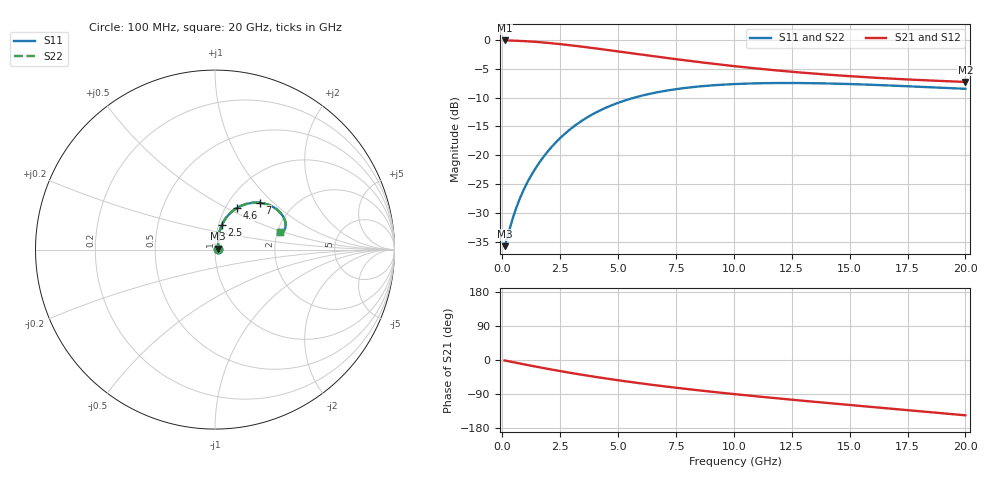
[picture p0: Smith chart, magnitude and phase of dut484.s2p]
! Touchstone file exported from HFSS 2024.1.0
!  File:  C:/UserFiles/LocalFiles/RDL_TSV_Batchsim/temp_RDL_TSV_484_1779733240.aedt
!  Generated:  02:38:22 AM May 26, 2026
!  Design:  RDL_TSV
!  Project:  temp_RDL_TSV_484_1779733240
!  Setup:  Setup1
!  Solution:  Sweep
! Variables:
!  dtsv = 5.21um
!  hbump = 3um
!  htsv = 82.71um
!  ldown = 120.74um
!  lrdl = 369.86um
!  p = 40
!  p1 = 50.29um
!  rhole = 10um
!  subl = 1841.66um
!  t = 450um
!  tdown = 3.18um
!  trdl = 3.46um
!  viad = 10um
!  wdown = 17.66um
!  wrdl = 13.6um
!  xbump = 18um
# GHz S MA R 50.000000
! Terminal data exported
! Port[1] = TM1_1_T1
! Port[2] = TM1_4_T1
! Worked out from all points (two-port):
!   200 points, 100 MHz to 20 GHz, reference 50 ohm
!   highest |S21| = -0.14 dB at 100 MHz (marker M1); lowest = -7.3 dB at 20 GHz (marker M2)
!   |S21| within 3 dB of the highest: start of sweep to 7.057 GHz
!   lowest |S11| = -35.7 dB at 100 MHz (marker M3), VSWR 1.03, Z = 51.6 + j0.547 ohm
!   |S11| at or under -10 dB: start of sweep to 5.719 GHz
!   |S22| runs from -35.7 to -7.5 dB; largest |S21 - S12| = 8.8e-15
!   S11 on the Smith chart (normalised r, x): 100 MHz: 1.03, +0.01; 2.5 GHz: 1.04, +0.29; 4.6 GHz: 1.13, +0.57; 7 GHz: 1.38, +0.82; 20 GHz: 2.07, +0.47
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0.1  0.01643 18.8  0.9843 -1.3  0.9843 -1.3  0.01643 18.8
! Gamma 0 0 0 0
! Port Impedance 50 0 50 0
0.4  0.02639 51.5  0.9816 -5.0  0.9816 -5.0  0.02639 51.5
0.6  0.03502 60.9  0.9786 -7.4  0.9786 -7.4  0.03502 60.9
0.8  0.04432 66.6  0.9748 -9.8  0.9748 -9.8  0.04432 66.6
1.1  0.05933 71.7  0.9676 -13.4  0.9676 -13.4  0.05933 71.7
1.4  0.07545 74.3  0.9587 -16.9  0.9587 -16.9  0.07546 74.3
1.7  0.09254 75.5  0.9483 -20.4  0.9483 -20.4  0.09255 75.5
2.1  0.1165 75.6  0.9325 -24.9  0.9325 -24.9  0.1165 75.6
2.5  0.1412 74.5  0.9151 -29.3  0.9151 -29.3  0.1413 74.5
3  0.1725 72.2  0.8916 -34.5  0.8916 -34.5  0.1725 72.2
3.5  0.2031 69.3  0.867 -39.5  0.867 -39.5  0.2032 69.3
4  0.2323 66.0  0.8419 -44.4  0.8419 -44.4  0.2324 66.0
4.6  0.2648 61.8  0.8117 -49.9  0.8117 -49.9  0.2649 61.9
5.6  0.3114 55.0  0.7627 -58.5  0.7627 -58.5  0.3116 55.1
6.8  0.3544 47.5  0.7079 -68.0  0.7079 -68.0  0.3546 47.5
7  0.3603 46.3  0.6993 -69.5  0.6993 -69.5  0.3605 46.4
8.5  0.3941 38.4  0.6403 -80.2  0.6403 -80.2  0.3944 38.4
10.1  0.414 31.5  0.5881 -90.5  0.5881 -90.5  0.4143 31.5
11.7  0.4218 25.9  0.5459 -100.2  0.5459 -100.2  0.4221 26.0
13.4  0.4207 21.3  0.5102 -109.9  0.5102 -109.9  0.421 21.4
16.7  0.402 15.9  0.4618 -128.0  0.4618 -128.0  0.4023 15.9
20  0.3762 14.9  0.4314 -146.0  0.4314 -146.0  0.3763 14.9
